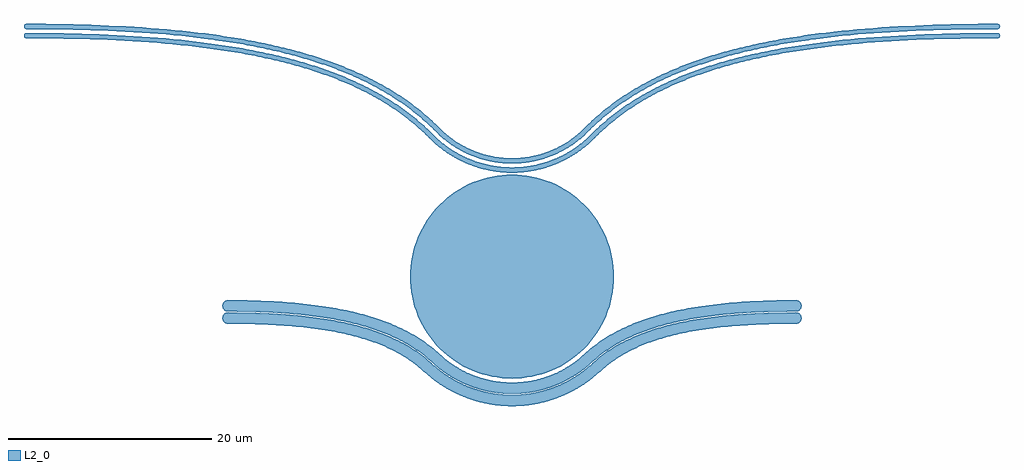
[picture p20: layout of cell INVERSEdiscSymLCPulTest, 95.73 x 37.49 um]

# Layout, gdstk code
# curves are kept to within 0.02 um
import gdstk
lib = gdstk.Library(unit=1e-6, precision=1e-09)
def P(c, l, *ps):  # polygons
    for p in ps: c.add(gdstk.Polygon(p, *l))
L2_0 = (2, 0)

inversediscsymlcpultest = lib.new_cell('INVERSEdiscSymLCPulTest')
P(inversediscsymlcpultest, L2_0, [(-10,10),(-10.98,10.048),(-11.951,10.192),(-12.903,10.431),(-13.827,10.761),(-14.714,11.181),(-15.556,11.685),(-16.344,12.27),(-17.071,12.929),(-17.73,13.656),(-18.315,14.444),(-18.819,15.286),(-19.239,16.173),(-19.569,17.097),(-19.808,18.049),(-19.952,19.02),(-20,20),(-19.952,20.98),(-19.808,21.951),(-19.569,22.903),(-19.239,23.827),(-18.819,24.714),(-18.315,25.556),(-17.73,26.344),(-17.071,27.071),(-16.344,27.73),(-15.556,28.315),(-14.714,28.819),(-13.827,29.239),(-12.903,29.569),(-11.951,29.808),(-10.98,29.952),(-10,30),(-9.02,29.952),(-8.049,29.808),(-7.097,29.569),(-6.173,29.239),(-5.286,28.819),(-4.444,28.315),(-3.656,27.73),(-2.929,27.071),(-2.27,26.344),(-1.685,25.556),(-1.181,24.714),(-0.761,23.827),(-0.431,22.903),(-0.192,21.951),(-0.048,20.98),(0,20),(-0.048,19.02),(-0.192,18.049),(-0.431,17.097),(-0.761,16.173),(-1.181,15.286),(-1.685,14.444),(-2.27,13.656),(-2.929,12.929),(-3.656,12.27),(-4.444,11.685),(-5.286,11.181),(-6.173,10.761),(-7.097,10.431),(-8.049,10.192),(-9.02,10.048)],
  [(-10,7.3),(-11.336,7.37),(-12.657,7.581),(-13.948,7.929),(-15.264,8.442),(-16.322,8.985),(-17.264,9.582),(-18.035,10.165),(-19.496,11.412),(-20.649,12.196),(-21.492,12.667),(-22.398,13.097),(-23.368,13.488),(-24.405,13.841),(-25.798,14.228),(-27.349,14.567),(-28.674,14.795),(-30.44,15.025),(-31.941,15.167),(-33.933,15.293),(-37.964,15.391),(-38.203,15.506),(-38.336,15.668),(-38.4,15.874),(-38.378,16.094),(-38.309,16.238),(-38.203,16.355),(-38.016,16.456),(-37.853,16.48),(-37.853,15.38),(-37.853,16.48),(-36.023,16.463),(-32.622,16.319),(-29.918,16.072),(-28.482,15.878),(-27.124,15.644),(-25.841,15.371),(-24.928,15.139),(-23.774,14.794),(-22.69,14.407),(-21.429,13.863),(-20.495,13.378),(-19.624,12.85),(-19.012,12.424),(-18.433,11.972),(-17.339,11.016),(-16.523,10.407),(-15.597,9.839),(-14.746,9.415),(-13.671,8.996),(-12.427,8.657),(-11.153,8.457),(-9.932,8.4),(-8.645,8.479),(-7.507,8.671),(-6.329,8.996),(-5.192,9.443),(-4.344,9.872),(-3.477,10.407),(-2.661,11.016),(-1.567,11.972),(-0.988,12.424),(-0.376,12.85),(0.495,13.378),(1.429,13.863),(2.429,14.303),(3.496,14.701),(4.633,15.056),(5.841,15.371),(7.124,15.644),(8.482,15.878),(10.289,16.114),(12.221,16.291),(13.858,16.39),(16.023,16.463),(17.853,16.48),(17.853,15.38),(16.057,15.363),(13.933,15.293),(11.941,15.167),(10.077,14.983),(8.674,14.795),(7.029,14.504),(5.51,14.155),(4.139,13.756),(3.119,13.394),(2.398,13.097),(1.492,12.667),(0.649,12.196),(-0.504,11.412),(-1.965,10.165),(-2.736,9.582),(-3.678,8.985),(-4.736,8.442),(-6.052,7.929),(-7.343,7.581),(-8.664,7.37)],
  [(17.853,15.38),(17.853,16.48),(18.067,16.437),(18.242,16.319),(18.36,16.144),(18.403,15.93),(18.36,15.716),(18.242,15.541),(18.067,15.423)],
  [(-10,8.5),(-11.277,8.571),(-12.406,8.754),(-13.639,9.091),(-14.828,9.562),(-15.725,10.026),(-16.522,10.528),(-17.223,11.051),(-18.767,12.365),(-19.371,12.801),(-20.23,13.342),(-21.152,13.839),(-21.886,14.182),(-22.923,14.602),(-24.028,14.98),(-25.508,15.393),(-26.775,15.677),(-28.465,15.976),(-29.904,16.171),(-31.421,16.327),(-33.433,16.469),(-35.576,16.553),(-37.964,16.591),(-38.203,16.706),(-38.336,16.868),(-38.4,17.074),(-38.378,17.294),(-38.309,17.438),(-38.203,17.555),(-38.016,17.656),(-37.853,17.68),(-37.853,16.58),(-37.853,17.68),(-35.987,17.662),(-32.928,17.541),(-31.296,17.42),(-29.745,17.259),(-27.22,16.883),(-25.883,16.612),(-24.603,16.294),(-23.379,15.927),(-22.227,15.514),(-21.144,15.054),(-19.885,14.412),(-18.952,13.844),(-18.295,13.386),(-17.472,12.732),(-16.627,11.984),(-15.898,11.434),(-15.177,10.98),(-14.311,10.535),(-13.291,10.134),(-12.176,9.83),(-11.033,9.651),(-9.939,9.6),(-8.846,9.664),(-7.705,9.856),(-6.709,10.134),(-5.689,10.535),(-4.823,10.98),(-4.102,11.434),(-3.373,11.984),(-2.528,12.732),(-1.705,13.386),(-1.048,13.844),(-0.115,14.412),(0.884,14.931),(1.949,15.403),(3.084,15.828),(4.29,16.206),(5.56,16.537),(6.879,16.819),(8.634,17.113),(10.125,17.303),(11.696,17.454),(13.776,17.587),(15.534,17.652),(17.853,17.68),(17.853,16.58),(15.576,16.553),(13.433,16.469),(11.421,16.327),(9.904,16.171),(8.118,15.921),(6.452,15.61),(5.203,15.315),(3.745,14.89),(2.657,14.501),(1.637,14.071),(0.683,13.596),(0.009,13.211),(-0.629,12.801),(-1.233,12.365),(-2.777,11.051),(-3.368,10.605),(-4.275,10.026),(-5.172,9.562),(-6.361,9.091),(-7.594,8.754),(-8.723,8.571)],
  [(17.853,16.58),(17.853,17.68),(18.067,17.637),(18.242,17.519),(18.36,17.344),(18.403,17.13),(18.36,16.916),(18.242,16.741),(18.067,16.623)],
  [(-10,30.2),(-11.34,30.279),(-12.662,30.515),(-13.947,30.905),(-15.114,31.411),(-15.978,31.893),(-16.798,32.448),(-17.619,33.12),(-18.967,34.411),(-20.056,35.338),(-21.419,36.346),(-22.884,37.278),(-24.686,38.251),(-26.625,39.129),(-28.706,39.917),(-30.93,40.616),(-33.304,41.23),(-35.851,41.766),(-38.55,42.22),(-41.039,42.552),(-44.803,42.925),(-48.818,43.185),(-53.087,43.336),(-57.643,43.387),(-57.737,43.416),(-57.825,43.496),(-57.866,43.61),(-57.856,43.71),(-57.757,43.843),(-57.617,43.886),(-57.617,43.386),(-57.617,43.886),(-55.766,43.878),(-52.191,43.814),(-48.781,43.684),(-46.331,43.54),(-43.205,43.286),(-39.878,42.911),(-37.088,42.494),(-34.131,41.928),(-31.371,41.257),(-29.92,40.838),(-28.801,40.477),(-26.67,39.688),(-24.682,38.805),(-22.834,37.827),(-21.329,36.889),(-19.927,35.873),(-18.807,34.939),(-17.335,33.537),(-16.554,32.89),(-15.659,32.284),(-14.769,31.798),(-13.647,31.328),(-12.938,31.103),(-12.282,30.941),(-11.013,30.747),(-9.932,30.7),(-9.257,30.725),(-8.584,30.792),(-7.455,31.001),(-6.226,31.374),(-5.11,31.858),(-4.112,32.427),(-3.179,33.098),(-2.665,33.537),(-1.012,35.099),(0.317,36.171),(1.537,37.027),(2.834,37.827),(4.682,38.805),(6.67,39.688),(8.801,40.477),(11.076,41.176),(13.815,41.859),(16.414,42.377),(19.166,42.814),(22.448,43.211),(26.331,43.54),(29.618,43.723),(33.069,43.836),(37.617,43.886),(37.617,43.386),(33.087,43.336),(28.818,43.185),(24.803,42.925),(21.039,42.552),(18.55,42.22),(15.851,41.766),(13.304,41.23),(10.93,40.616),(8.706,39.917),(6.625,39.129),(4.686,38.251),(2.884,37.278),(1.419,36.346),(0.056,35.338),(-1.033,34.411),(-2.381,33.12),(-3.202,32.448),(-4.022,31.893),(-4.886,31.411),(-6.053,30.905),(-7.338,30.515),(-8.66,30.279)],
  [(37.617,43.386),(37.617,43.886),(37.715,43.866),(37.794,43.812),(37.848,43.733),(37.867,43.636),(37.848,43.538),(37.794,43.459),(37.715,43.405)],
  [(37.617,44.286),(37.617,44.786),(37.715,44.766),(37.794,44.712),(37.848,44.633),(37.867,44.536),(37.848,44.438),(37.794,44.359),(37.715,44.305)],
  [(-10,31.1),(-11.17,31.165),(-11.879,31.269),(-12.452,31.39),(-13.635,31.749),(-14.768,32.245),(-15.727,32.799),(-16.519,33.369),(-17.161,33.921),(-18.734,35.408),(-20.081,36.494),(-21.317,37.361),(-22.629,38.17),(-24.5,39.161),(-26.511,40.055),(-28.388,40.759),(-30.669,41.477),(-33.096,42.106),(-35.339,42.584),(-38.045,43.053),(-40.906,43.442),(-44.704,43.82),(-48.751,44.082),(-53.054,44.236),(-57.643,44.287),(-57.737,44.316),(-57.825,44.396),(-57.866,44.51),(-57.856,44.61),(-57.757,44.743),(-57.617,44.786),(-57.617,44.286),(-57.617,44.786),(-55.753,44.778),(-52.151,44.713),(-49.558,44.621),(-46.244,44.436),(-43.092,44.179),(-39.736,43.799),(-36.578,43.32),(-33.614,42.736),(-31.124,42.123),(-28.773,41.416),(-26.569,40.616),(-24.509,39.719),(-22.59,38.723),(-21.026,37.768),(-19.769,36.885),(-18.974,36.263),(-18.212,35.615),(-16.775,34.245),(-16.258,33.8),(-15.402,33.184),(-14.431,32.635),(-13.346,32.176),(-12.275,31.862),(-11.114,31.662),(-9.938,31.6),(-8.824,31.669),(-7.665,31.876),(-6.596,32.197),(-5.569,32.635),(-4.598,33.184),(-3.742,33.8),(-3.225,34.245),(-1.788,35.615),(-1.026,36.263),(-0.231,36.885),(1.026,37.768),(2.59,38.723),(4.509,39.719),(6.569,40.616),(8.773,41.416),(11.124,42.123),(13.614,42.736),(16.578,43.32),(19.376,43.751),(22.329,44.103),(25.441,44.379),(29.558,44.621),(33.931,44.754),(37.617,44.786),(37.617,44.286),(32.173,44.214),(27.921,44.039),(23.924,43.754),(20.54,43.398),(17.699,42.999),(15.339,42.584),(13.096,42.106),(10.669,41.477),(8.388,40.759),(6.511,40.055),(4.5,39.161),(2.629,38.17),(1.317,37.361),(0.081,36.494),(-1.266,35.408),(-2.839,33.921),(-3.481,33.369),(-4.273,32.799),(-5.232,32.245),(-6.365,31.749),(-7.548,31.39),(-8.121,31.269),(-8.83,31.165)])

lib.write_gds('INVERSEdiscSymLCPulTest.gds')
